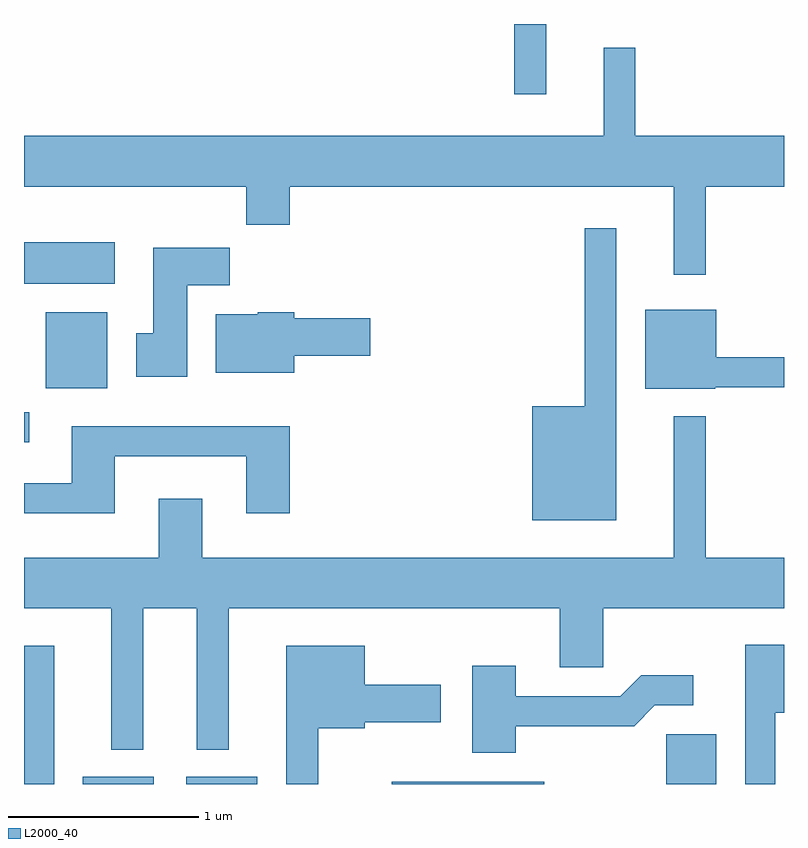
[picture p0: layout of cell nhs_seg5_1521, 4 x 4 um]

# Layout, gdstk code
import gdstk
lib = gdstk.Library(unit=1e-6, precision=1e-09)
def R(c, l, rs):  # rectangles x0, y0, x1, y1
    for r in rs: c.add(gdstk.rectangle(r[:2], r[2:], *l))
def P(c, l, *ps):  # polygons
    for p in ps: c.add(gdstk.Polygon(p, *l))
L2000_40 = (2000, 40)

nhs_seg5_1521 = lib.new_cell('nhs_seg5_1521')
R(nhs_seg5_1521, L2000_40, [(229.611,1478.072,229.769,1478.799), (229.921,1478.072,230.294,1478.109), (230.466,1478.072,230.839,1478.109), (231.546,1478.072,232.349,1478.084), (232.991,1478.072,233.254,1478.334), (229.611,1479.871,229.638,1480.029), (229.726,1480.156,230.049,1480.554), (229.611,1480.706,230.089,1480.924), (232.191,1481.703,232.359,1482.072)])
P(nhs_seg5_1521, L2000_40, [(233.199,1481.216),(233.611,1481.216),(233.611,1481.484),(232.829,1481.484),(232.829,1481.948),(232.661,1481.948),(232.661,1481.484),(229.611,1481.484),(229.611,1481.216),(230.781,1481.216),(230.781,1481.016),(231.009,1481.016),(231.009,1481.216),(233.031,1481.216),(233.031,1480.753),(233.199,1480.753)],
  [(232.729,1480.998),(232.561,1480.998),(232.561,1480.059),(232.286,1480.059),(232.286,1479.461),(232.729,1479.461)],
  [(230.469,1480.696),(230.694,1480.696),(230.694,1480.894),(230.291,1480.894),(230.291,1480.444),(230.201,1480.444),(230.201,1480.216),(230.469,1480.216)],
  [(233.25,1480.161),(233.611,1480.161),(233.611,1480.319),(233.254,1480.319),(233.254,1480.569),(232.881,1480.569),(232.881,1480.151),(233.25,1480.151)],
  [(231.034,1480.326),(231.434,1480.326),(231.434,1480.524),(231.034,1480.524),(231.034,1480.554),(230.84,1480.554),(230.84,1480.544),(230.621,1480.544),(230.621,1480.236),(231.034,1480.236)],
  [(230.239,1478.996),(230.521,1478.996),(230.521,1478.253),(230.689,1478.253),(230.689,1478.996),(232.431,1478.996),(232.431,1478.686),(232.659,1478.686),(232.659,1478.996),(233.611,1478.996),(233.611,1479.264),(233.199,1479.264),(233.199,1480.008),(233.031,1480.008),(233.031,1479.264),(230.549,1479.264),(230.549,1479.574),(230.321,1479.574),(230.321,1479.264),(229.611,1479.264),(229.611,1478.996),(230.071,1478.996),(230.071,1478.253),(230.239,1478.253)],
  [(230.089,1479.796),(230.781,1479.796),(230.781,1479.496),(231.009,1479.496),(231.009,1479.954),(229.861,1479.954),(229.861,1479.654),(229.611,1479.654),(229.611,1479.496),(230.089,1479.496)],
  [(233.564,1478.446),(233.611,1478.446),(233.611,1478.804),(233.406,1478.804),(233.406,1478.072),(233.564,1478.072)],
  [(231.159,1478.366),(231.404,1478.366),(231.404,1478.396),(231.804,1478.396),(231.804,1478.594),(231.404,1478.594),(231.404,1478.799),(230.991,1478.799),(230.991,1478.072),(231.159,1478.072)],
  [(232.199,1478.376),(232.822,1478.376),(232.932,1478.486),(233.133,1478.486),(233.133,1478.644),(232.859,1478.644),(232.749,1478.534),(232.199,1478.534),(232.199,1478.694),(231.971,1478.694),(231.971,1478.236),(232.199,1478.236)])

lib.write_gds('nhs_seg5_1521.gds')
